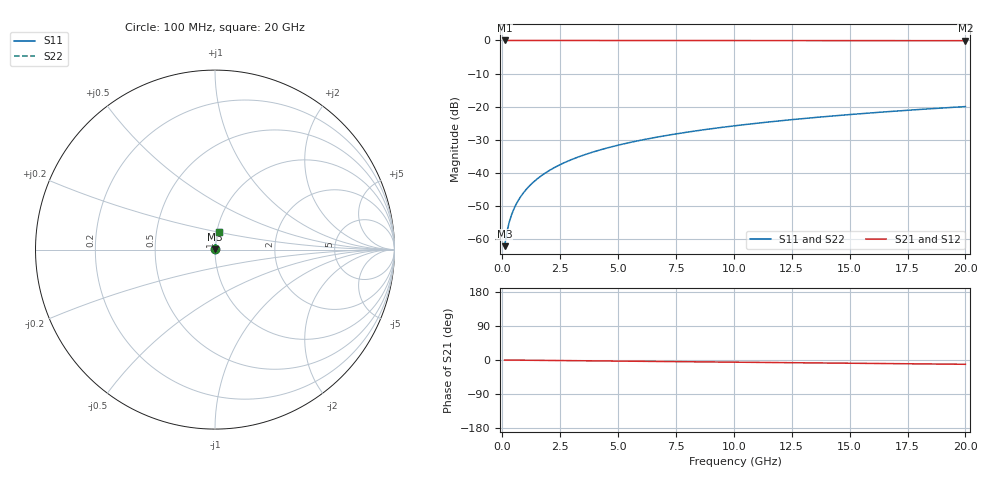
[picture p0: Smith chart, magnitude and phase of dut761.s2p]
! Touchstone file exported from HFSS 2026.1.0
!  File:  C:/ffzhzh/LocalFiles/Ansys_Project_Files/temp_train_TMRDL_761_1783155450_18472.aedt
!  Generated:  04:58:39 PM Jul  4, 2026
!  Design:  TMRDL
!  Project:  temp_train_TMRDL_761_1783155450_18472
! Variables:
!  h_bsmrdl = 2um
!  h_ox = 20um
!  h_rdl = 5um
!  h_sub = 80um
!  h_tmrdl = 5.59um
!  h_tsv = 80um
!  h_via = 3um
!  l_bsmrdl = 300um
!  l_sub = 542.24um
!  l_tmrdl = 142.24um
!  m_sub = 200um
!  pitch = 46.65um
!  r_tsv = 6um
!  s_tmrdl = 10um
!  w_bsmrdl = 18um
!  w_sub = 500um
!  w_tmrdl = 23.94um
!  x_tsv_center1 = 154.21um
!  x_tsv_center2 = 472.21um
!  x_tsv_center3 = 638.39um
!  x_tsv_center4 = 956.39um
!  x_tsv_center5 = 1122.57um
!  x_tsv_center6 = 1440.57um
# GHz S MA R 50.000000
! Terminal data exported
! Port[1] = TM_RDL1_1_T1
! Port[2] = TM_RDL1_1_T2
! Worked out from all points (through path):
!   200 points, 100 MHz to 20 GHz, reference 50 ohm
!   highest |S21| = 0.00 dB at 100 MHz (marker M1); lowest = -0.1 dB at 20 GHz (marker M2)
!   group delay of S21, straight-line fit = 1.57 ps
!   lowest |S11| = -62.0 dB at 100 MHz (marker M3), VSWR 1.00, Z = 50.1 + j0.0595 ohm
!   |S11| at or under -10 dB: start of sweep to end of sweep
!   |S22| runs from -62.0 to -19.9 dB; largest |S21 - S12| = 3.2e-15
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0.1  0.0007932 48.5  0.9995 -0.1  0.9995 -0.1  0.0007932 48.5
! Gamma 0 0 0 0
! Port Impedance 50 0 50 0
0.2  0.001299 64.3  0.9994 -0.1  0.9994 -0.1  0.001299 64.3
0.3  0.001828 70.6  0.9994 -0.2  0.9994 -0.2  0.001828 70.6
0.4  0.002356 74.1  0.9994 -0.2  0.9994 -0.2  0.002356 74.1
0.5  0.00288 76.4  0.9993 -0.3  0.9993 -0.3  0.00288 76.4
0.7  0.003929 79.2  0.9993 -0.4  0.9993 -0.4  0.003929 79.2
0.8  0.004455 80.2  0.9993 -0.5  0.9993 -0.5  0.004455 80.2
1  0.005509 81.5  0.9992 -0.6  0.9992 -0.6  0.005509 81.5
1.2  0.006567 82.4  0.9992 -0.7  0.9992 -0.7  0.006567 82.4
1.4  0.007626 83.1  0.9991 -0.8  0.9991 -0.8  0.007626 83.1
1.7  0.009214 83.6  0.9991 -1.0  0.9991 -1.0  0.009214 83.6
2  0.0108 84.0  0.999 -1.2  0.999 -1.2  0.0108 84.0
2.7  0.01448 84.3  0.9988 -1.6  0.9988 -1.6  0.01448 84.3
3.5  0.01865 84.3  0.9986 -2.0  0.9986 -2.0  0.01865 84.3
4.2  0.02227 84.1  0.9984 -2.4  0.9984 -2.4  0.02227 84.1
5  0.02637 83.8  0.9981 -2.9  0.9981 -2.9  0.02637 83.8
6.8  0.0355 83.2  0.9976 -3.9  0.9976 -3.9  0.0355 83.2
8.3  0.04305 82.5  0.997 -4.8  0.997 -4.8  0.04305 82.5
10.1  0.05206 81.8  0.9964 -5.8  0.9964 -5.8  0.05206 81.8
13.4  0.06846 80.2  0.9951 -7.6  0.9951 -7.6  0.06846 80.2
16.7  0.0847 78.6  0.9935 -9.5  0.9935 -9.5  0.0847 78.6
20  0.1007 76.9  0.9917 -11.3  0.9917 -11.3  0.1007 76.9
